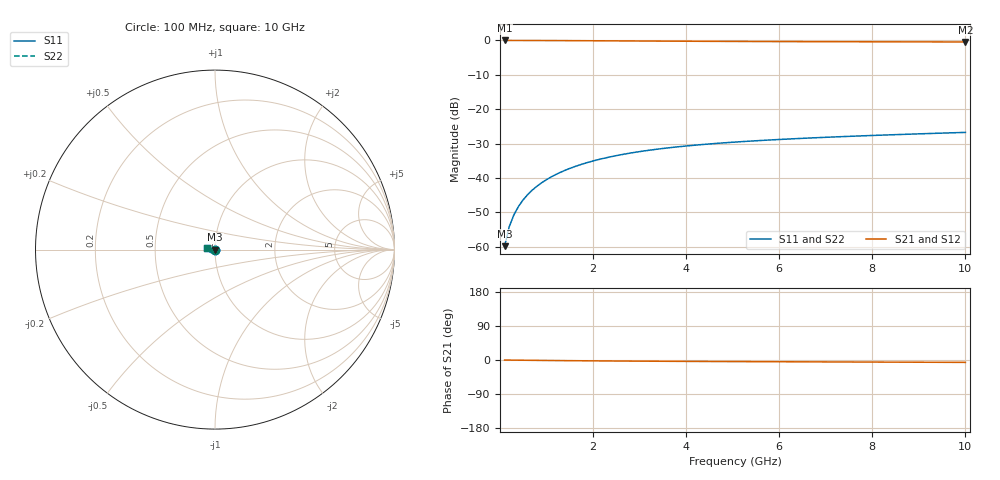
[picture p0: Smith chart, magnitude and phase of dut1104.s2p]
! Touchstone file exported from HFSS 2024.1.0
!  File:  C:/UserFiles/LocalFiles/RDL_TSV_Batchsim/temp_TSV1_1104_1780067668.aedt
!  Generated:  11:20:01 PM May 29, 2026
!  Design:  TSV1
!  Project:  temp_TSV1_1104_1780067668
!  Setup:  Setup1
!  Solution:  Sweep
! Variables:
!  dtsv = 6.83um
!  hbump = 3um
!  htsv = 99.78um
!  lrdl = 252.1521522um
!  p = 40
!  p1 = 43.64um
!  t = 500um
!  trdl = 3um
!  wrdl = 24.89489489um
# GHz S MA R 50.000000
! Terminal data exported
! Port[1] = TSV22_T1
! Port[2] = TSV22_T2
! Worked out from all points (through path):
!   100 points, 100 MHz to 10 GHz, reference 50 ohm
!   highest |S21| = 0.00 dB at 100 MHz (marker M1); lowest = -0.4 dB at 10 GHz (marker M2)
!   lowest |S11| = -59.8 dB at 100 MHz (marker M3), VSWR 1.00, Z = 50 - j0.0968 ohm
!   |S11| at or under -10 dB: start of sweep to end of sweep
!   |S22| runs from -59.8 to -26.7 dB; largest |S21 - S12| = 5.1e-15
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0.1  0.001022 -71.3  0.9996 -0.1  0.9996 -0.1  0.001022 -71.3
! Gamma 0 0 0 0
! Port Impedance 50 0 50 0
0.2  0.001966 -82.9  0.9995 -0.3  0.9995 -0.3  0.001966 -82.9
0.3  0.002924 -88.2  0.9993 -0.4  0.9993 -0.4  0.002924 -88.2
0.4  0.003881 -91.7  0.9991 -0.5  0.9991 -0.5  0.003881 -91.7
0.5  0.004835 -94.5  0.9989 -0.6  0.9989 -0.6  0.004835 -94.5
0.6  0.005781 -96.9  0.9985 -0.7  0.9985 -0.7  0.005781 -96.9
0.7  0.00672 -99.2  0.9982 -0.9  0.9982 -0.9  0.00672 -99.2
0.8  0.007649 -101.2  0.9977 -1.0  0.9977 -1.0  0.007649 -101.2
0.9  0.008567 -103.2  0.9973 -1.1  0.9973 -1.1  0.008567 -103.2
1.1  0.01037 -107.0  0.9962 -1.3  0.9962 -1.3  0.01037 -107.0
1.4  0.01296 -112.4  0.9943 -1.7  0.9943 -1.7  0.01296 -112.4
1.6  0.0146 -115.8  0.9928 -1.9  0.9928 -1.9  0.0146 -115.8
1.8  0.01618 -119.0  0.9913 -2.1  0.9913 -2.1  0.01618 -119.0
2.1  0.01842 -123.7  0.9889 -2.3  0.9889 -2.3  0.01842 -123.7
2.5  0.02116 -129.6  0.9856 -2.7  0.9856 -2.7  0.02116 -129.6
2.9  0.02363 -135.1  0.9824 -3.0  0.9824 -3.0  0.02363 -135.1
3.4  0.02636 -141.4  0.9784 -3.3  0.9784 -3.3  0.02636 -141.4
4.2  0.03006 -150.5  0.9727 -3.8  0.9727 -3.8  0.03006 -150.5
5.1  0.03347 -159.4  0.9672 -4.2  0.9672 -4.2  0.03347 -159.4
6.7  0.03829 -172.6  0.9599 -4.9  0.9599 -4.9  0.03829 -172.6
8.4  0.04248 176.0  0.9546 -5.6  0.9546 -5.6  0.04248 176.0
10  0.04605 167.0  0.951 -6.3  0.951 -6.3  0.04605 167.0
